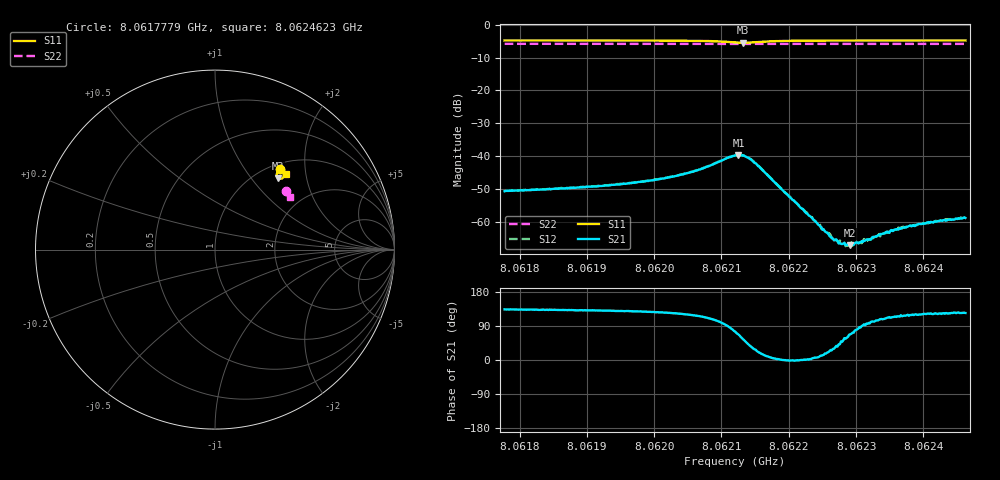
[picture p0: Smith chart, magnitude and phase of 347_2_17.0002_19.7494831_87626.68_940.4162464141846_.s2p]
#  HZ  S  RI  R  50.00
! Rohde & Schwarz Vector Network Analyzer
! Rohde-Schwarz,ZNB20-2Port,1311601062101988,3.16
! Created: UTC 3/20/2024, 11:07:40 PM
! freq[Hz]  re:S11  im:S11  re:S21  im:S21  re:S12  im:S12  re:S22  im:S22
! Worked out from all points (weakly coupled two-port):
!   401 points, 8.0617779 GHz to 8.0624623 GHz, reference 50 ohm
!   highest |S21| = -39.66 dB at 8.0621252 GHz (marker M1); lowest = -67.1 dB at 8.0622912 GHz (marker M2)
!   lowest |S11| = -5.5 dB at 8.0621321 GHz (marker M3), VSWR 3.27, Z = 61.7 + j68.8 ohm
!   |S11| at or under -10 dB: nowhere
!   |S22| runs from -5.9 to -5.8 dB; largest |S21 - S12| = 0.00082
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8.06177786e9  0.3629 0.4473  -0.00203 0.00213  -0.00191 0.00228  0.3957 0.3249
8.0618925e9  0.3707 0.4407  -0.00223 0.00253  -0.00207 0.00271  0.4001 0.3194
8.06195582e9  0.3752 0.4362  -0.0024 0.00298  -0.00227 0.00311  0.4024 0.3161
8.06200715e9  0.3794 0.4309  -0.00262 0.00363  -0.00243 0.0038  0.4044 0.3135
8.06205506e9  0.3835 0.4226  -0.00279 0.00503  -0.00249 0.00524  0.406 0.3107
8.06212008e9  0.3654 0.395  0.00262 0.00997  0.00333 0.00985  0.407 0.3068
8.06212521e9  0.359 0.3954  0.00401 0.00959  0.00478 0.00936  0.4069 0.3066
8.06213206e9  0.3509 0.3995  0.00593 0.00845  0.00637 0.008  0.4068 0.3066
8.06214233e9  0.3439 0.4108  0.00721 0.00552  0.00756 0.00519  0.407 0.3067
8.0621543e9  0.3454 0.4237  0.0066 0.0026  0.00688 0.00227  0.4078 0.3067
8.06223472e9  0.3731 0.4345  0.00114 8.54e-05  0.00118 4.43e-06  0.4118 0.303
8.06226381e9  0.3774 0.4326  0.000523 0.00025  0.000531 0.000188  0.4131 0.3015
8.06227066e9  0.3782 0.4322  0.000431 0.00033  0.000437 0.000287  0.4132 0.301
8.0622775e9  0.3791 0.4318  0.000306 0.00035  0.000366 0.000329  0.4134 0.3007
8.06228606e9  0.3801 0.4313  0.000234 0.000386  0.000274 0.000357  0.4139 0.3002
8.06229119e9  0.3807 0.4309  0.000165 0.000407  0.000193 0.000403  0.4141 0.2998
8.06231857e9  0.3832 0.4292  -7.31e-05 0.000532  -3.54e-05 0.000549  0.4151 0.2986
8.06233055e9  0.3843 0.4285  -0.000151 0.000586  -0.000125 0.000592  0.4155 0.298
8.06234937e9  0.3859 0.4274  -0.00027 0.000628  -0.000221 0.00069  0.4161 0.297
8.06237332e9  0.3877 0.4258  -0.000376 0.000734  -0.000313 0.00078  0.417 0.2956
8.06240755e9  0.3901 0.4239  -0.000531 0.000844  -0.000461 0.000838  0.4181 0.2938
8.0624623e9  0.3938 0.4209  -0.000646 0.000955  -0.000619 0.00101  0.42 0.2911
